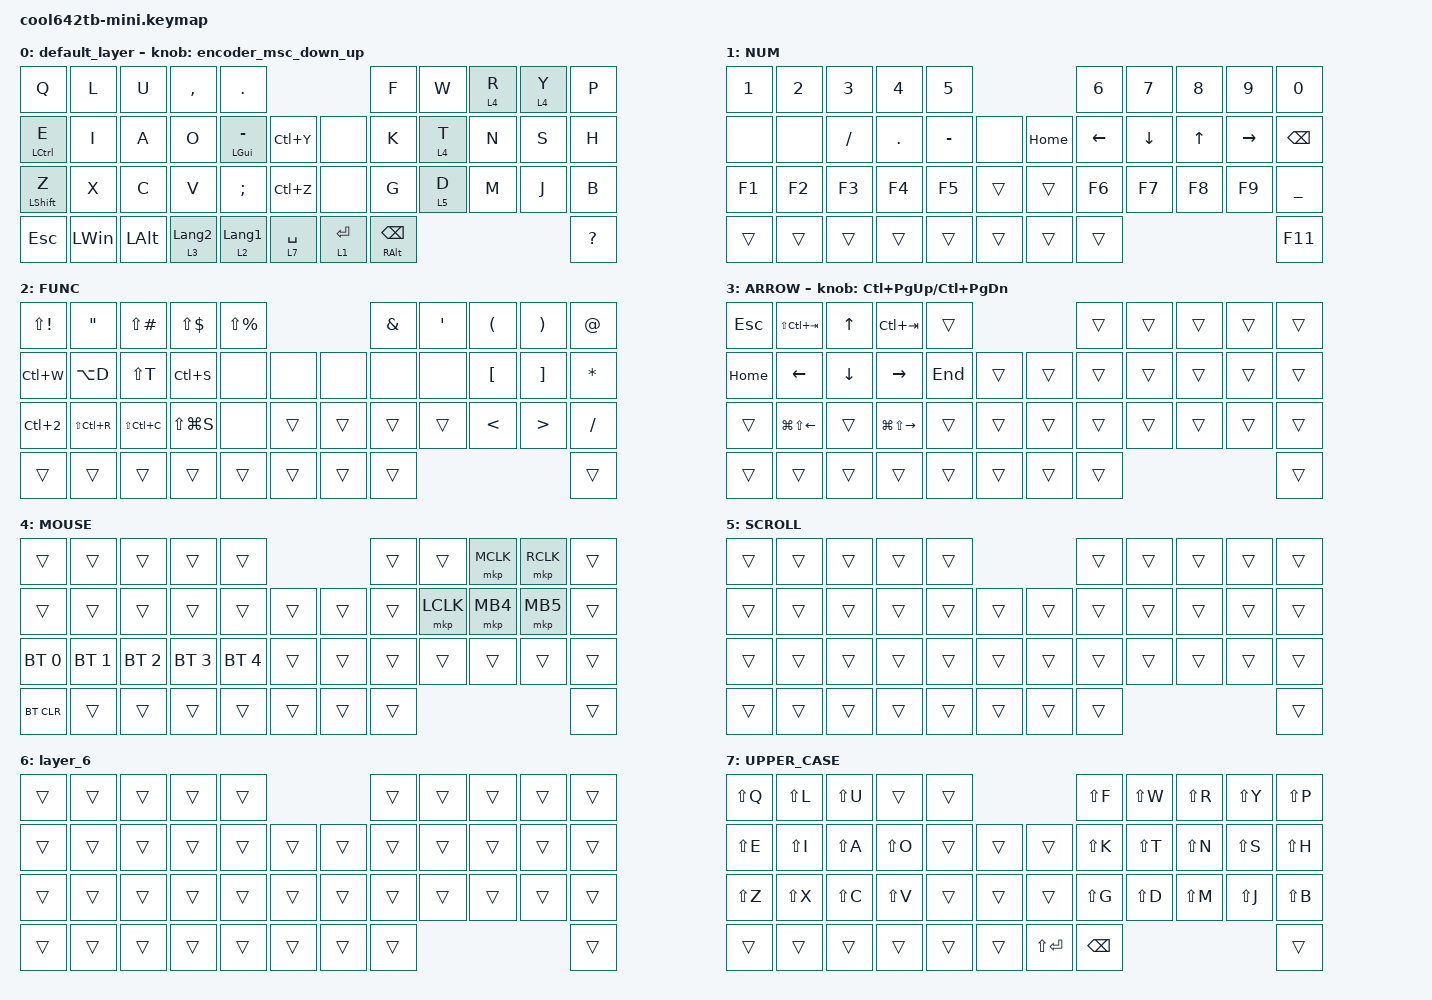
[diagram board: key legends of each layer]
#include <behaviors.dtsi>
#include <dt-bindings/zmk/bt.h>
#include <dt-bindings/zmk/keys.h>
#include <dt-bindings/zmk/pointing.h>
#include <input/processors.dtsi>

#define MOUSE 4
#define SCROLL 5
#define NUM 6
#define ZMK_POINTING_DEFAULT_SCRL_VAL 80

&mt {
    flavor = "balanced";
    quick-tap-ms = <0>;
};

&trackball_listener {
   input-processors = <&zip_xy_scaler 1 2>;
   layers = <3>;
 };

/ {
    combos {
        compatible = "zmk,combos";

        shift_tab {
            bindings = <&kp LS(TAB)>;
            key-positions = <12 13>;
        };

        tab {
            bindings = <&kp TAB>;
            key-positions = <11 12>;
        };
    };

    behaviors {
        encoder_msc_down_up: encoder_msc_down_up {
            compatible = "zmk,behavior-sensor-rotate";
            label = "ENCODER_MSC_DOWN_UP";
            #sensor-binding-cells = <0>;
            bindings = <&msc SCRL_UP>, <&msc SCRL_DOWN>;

            tap-ms = <20>;
        };
    };

    keymap {
        compatible = "zmk,keymap";

        default_layer {
            bindings = <
&kp Q               &kp L         &kp U         &kp COMMA         &kp PERIOD                                        &kp F                    &kp W    &lt 4 R  &lt 4 Y  &kp P
&mt LEFT_CONTROL E  &kp I         &kp A         &kp O             &mt LEFT_GUI MINUS  &kp LC(Y)        &none        &kp K                    &lt 4 T  &kp N    &kp S    &kp H
&mt LEFT_SHIFT Z    &kp X         &kp C         &kp V             &kp SEMICOLON       &kp LC(Z)        &none        &kp G                    &lt 5 D  &kp M    &kp J    &kp B
&kp ESCAPE          &kp LEFT_WIN  &kp LEFT_ALT  &lt 3 LANGUAGE_2  &lt 2 LANGUAGE_1    &lt 7 SPACE      &lt 1 ENTER  &mt RIGHT_ALT BACKSPACE                             &kp QUESTION
            >;

            sensor-bindings = <&encoder_msc_down_up>;
        };

        NUM {
            bindings = <
&kp N1  &kp N2  &kp N3     &kp N4   &kp N5                           &kp N6    &kp N7          &kp N8        &kp N9     &kp N0
&none   &none   &kp SLASH  &kp DOT  &kp MINUS  &none       &kp HOME  &kp LEFT  &kp DOWN_ARROW  &kp UP_ARROW  &kp RIGHT  &kp BACKSPACE
&kp F1  &kp F2  &kp F3     &kp F4   &kp F5     &trans      &trans    &kp F6    &kp F7          &kp F8        &kp F9     &kp UNDER
&trans  &trans  &trans     &trans   &trans     &trans      &trans    &trans                                             &kp F11
            >;
        };

        FUNC {
            bindings = <
&kp LS(EXCL)      &kp DOUBLE_QUOTES  &kp LS(POUND)  &kp LS(DLLR)   &kp LS(PRCNT)                      &kp AMPS  &kp SINGLE_QUOTE  &kp LEFT_PARENTHESIS  &kp RIGHT_PARENTHESIS  &kp AT
&kp LC(W)         &kp LA(D)          &kp LS(T)      &kp LC(S)      &none          &none       &none   &none     &none             &kp LEFT_BRACKET      &kp RIGHT_BRACKET      &kp ASTERISK
&kp LC(NUMBER_2)  &kp LS(LC(R))      &kp LS(LC(C))  &kp LS(LG(S))  &none          &trans      &trans  &trans    &trans            &kp LESS_THAN         &kp GREATER_THAN       &kp SLASH
&trans            &trans             &trans         &trans         &trans         &trans      &trans  &trans                                                                   &trans
            >;
        };

        ARROW {
            bindings = <
&kp ESCAPE  &kp LS(LC(TAB))   &kp UP_ARROW  &kp LC(TAB)        &trans                       &trans  &trans  &trans  &trans  &trans
&kp HOME    &kp LEFT          &kp DOWN      &kp RIGHT          &kp END  &trans      &trans  &trans  &trans  &trans  &trans  &trans
&trans      &kp LG(LS(LEFT))  &trans        &kp LG(LS(RIGHT))  &trans   &trans      &trans  &trans  &trans  &trans  &trans  &trans
&trans      &trans            &trans        &trans             &trans   &trans      &trans  &trans                          &trans
            >;

            sensor-bindings = <&inc_dec_kp LC(PAGE_UP) LC(PAGE_DOWN)>;
        };

        MOUSE {
            bindings = <
&trans        &trans        &trans        &trans        &trans                            &trans  &trans     &mkp MCLK  &mkp RCLK  &trans
&trans        &trans        &trans        &trans        &trans        &trans      &trans  &trans  &mkp LCLK  &mkp MB4   &mkp MB5   &trans
&bt BT_SEL 0  &bt BT_SEL 1  &bt BT_SEL 2  &bt BT_SEL 3  &bt BT_SEL 4  &trans      &trans  &trans  &trans     &trans     &trans     &trans
&bt BT_CLR    &trans        &trans        &trans        &trans        &trans      &trans  &trans                                   &trans
            >;
        };

        SCROLL {
            bindings = <
&trans  &trans  &trans  &trans  &trans                      &trans  &trans  &trans  &trans  &trans
&trans  &trans  &trans  &trans  &trans  &trans      &trans  &trans  &trans  &trans  &trans  &trans
&trans  &trans  &trans  &trans  &trans  &trans      &trans  &trans  &trans  &trans  &trans  &trans
&trans  &trans  &trans  &trans  &trans  &trans      &trans  &trans                          &trans
            >;
        };

        layer_6 {
            bindings = <
&trans  &trans  &trans  &trans  &trans                      &trans  &trans  &trans  &trans  &trans
&trans  &trans  &trans  &trans  &trans  &trans      &trans  &trans  &trans  &trans  &trans  &trans
&trans  &trans  &trans  &trans  &trans  &trans      &trans  &trans  &trans  &trans  &trans  &trans
&trans  &trans  &trans  &trans  &trans  &trans      &trans  &trans                          &trans
            >;
        };

        UPPER_CASE {
            bindings = <
&kp LS(Q)  &kp LS(L)  &kp LS(U)  &trans     &trans                             &kp LS(F)      &kp LS(W)  &kp LS(R)  &kp LS(Y)  &kp LS(P)
&kp LS(E)  &kp LS(I)  &kp LS(A)  &kp LS(O)  &trans  &trans      &trans         &kp LS(K)      &kp LS(T)  &kp LS(N)  &kp LS(S)  &kp LS(H)
&kp LS(Z)  &kp LS(X)  &kp LS(C)  &kp LS(V)  &trans  &trans      &trans         &kp LS(G)      &kp LS(D)  &kp LS(M)  &kp LS(J)  &kp LS(B)
&trans     &trans     &trans     &trans     &trans  &trans      &kp LS(ENTER)  &kp BACKSPACE                                   &trans
            >;
        };
    };
};
